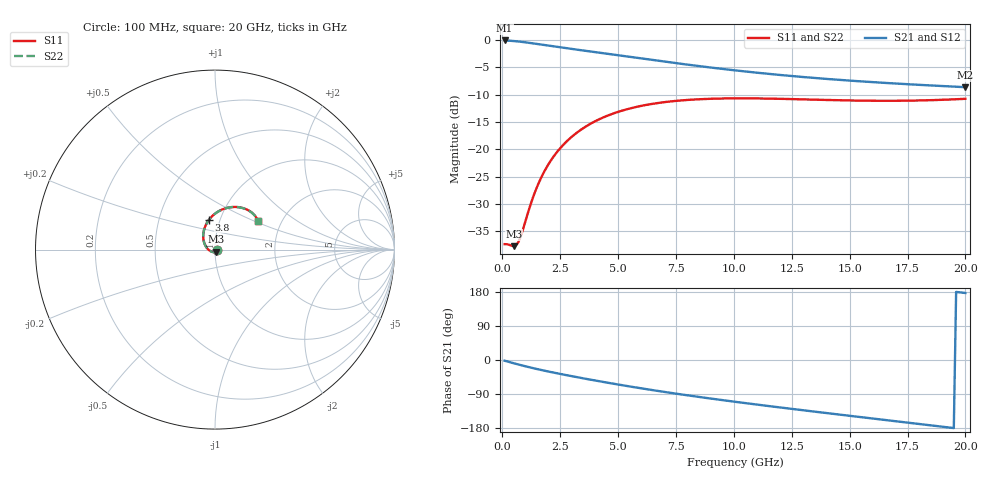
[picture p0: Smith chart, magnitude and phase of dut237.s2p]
! Touchstone file exported from HFSS 2024.1.0
!  File:  C:/UserFiles/LocalFiles/RDL_TSV_Batchsim/temp_RDL_TSV_237_1779452886.aedt
!  Generated:  08:41:14 PM May 22, 2026
!  Design:  RDL_TSV
!  Project:  temp_RDL_TSV_237_1779452886
!  Setup:  Setup1
!  Solution:  Sweep
! Variables:
!  dtsv = 14.11um
!  hbump = 3um
!  htsv = 59.03um
!  ldown = 155.61um
!  lrdl = 557.71um
!  p = 40
!  p1 = 57.16um
!  rhole = 10um
!  subl = 2697.67um
!  t = 450um
!  tdown = 2.5um
!  trdl = 2.59um
!  viad = 10um
!  wdown = 24.3um
!  wrdl = 29.6um
!  xbump = 18um
# GHz S MA R 50.000000
! Terminal data exported
! Port[1] = TM1_1_T1
! Port[2] = TM1_4_T1
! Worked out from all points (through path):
!   200 points, 100 MHz to 20 GHz, reference 50 ohm
!   highest |S21| = -0.13 dB at 100 MHz (marker M1); lowest = -8.7 dB at 20 GHz (marker M2)
!   group delay of S21, straight-line fit = 23.9 ps
!   lowest |S11| = -37.7 dB at 500 MHz (marker M3), VSWR 1.03, Z = 50.5 - j1.19 ohm
!   |S11| at or under -10 dB: start of sweep to end of sweep
!   |S22| runs from -37.7 to -10.7 dB; largest |S21 - S12| = 1.9e-14
!   S11 on the Smith chart (normalised r, x): 100 MHz: 1.03, -0.00; 3.8 GHz: 0.89, +0.31; 20 GHz: 1.52, +0.53
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0.1  0.01361 -9.5  0.9857 -1.8  0.9857 -1.8  0.01361 -9.5
! Gamma 0 0 0 0
! Port Impedance 50 0 50 0
0.5  0.01304 -64.5  0.9736 -8.7  0.9736 -8.7  0.01304 -64.5
0.6  0.01331 -83.2  0.9691 -10.3  0.9691 -10.3  0.01331 -83.2
0.7  0.01428 -102.3  0.9642 -12.0  0.9642 -12.0  0.01428 -102.3
0.8  0.01609 -120.2  0.9589 -13.6  0.9589 -13.6  0.01608 -120.2
1.2  0.03034 -169.4  0.9351 -19.6  0.9351 -19.6  0.03033 -169.3
1.4  0.04008 175.8  0.9223 -22.5  0.9223 -22.5  0.04006 175.8
1.6  0.05072 164.1  0.9093 -25.3  0.9093 -25.3  0.05069 164.1
1.9  0.0676 150.3  0.89 -29.3  0.89 -29.3  0.06756 150.3
2.2  0.08494 139.3  0.8713 -33.1  0.8713 -33.1  0.08489 139.3
2.6  0.1079 127.2  0.8474 -38.0  0.8474 -38.0  0.1078 127.2
3  0.1301 117.1  0.8248 -42.7  0.8248 -42.7  0.13 117.1
3.5  0.1561 106.6  0.7977 -48.4  0.7977 -48.4  0.156 106.6
3.8  0.1706 101.0  0.782 -51.8  0.782 -51.8  0.1705 101.0
5.1  0.2229 81.4  0.7173 -65.7  0.7173 -65.7  0.2228 81.4
6.8  0.266 63.2  0.6405 -82.4  0.6405 -82.4  0.2658 63.2
8.4  0.2856 51.1  0.5784 -96.7  0.5784 -96.7  0.2854 51.1
10.1  0.2918 42.1  0.5243 -110.6  0.5243 -110.6  0.2915 42.1
11.7  0.2898 36.5  0.4836 -123.0  0.4836 -123.0  0.2895 36.5
13.4  0.2841 33.1  0.4494 -135.6  0.4494 -135.6  0.2839 33.1
16.7  0.277 31.9  0.4018 -159.5  0.4018 -159.5  0.2769 31.9
20  0.2889 34.0  0.369 176.8  0.369 176.8  0.2887 34.0
